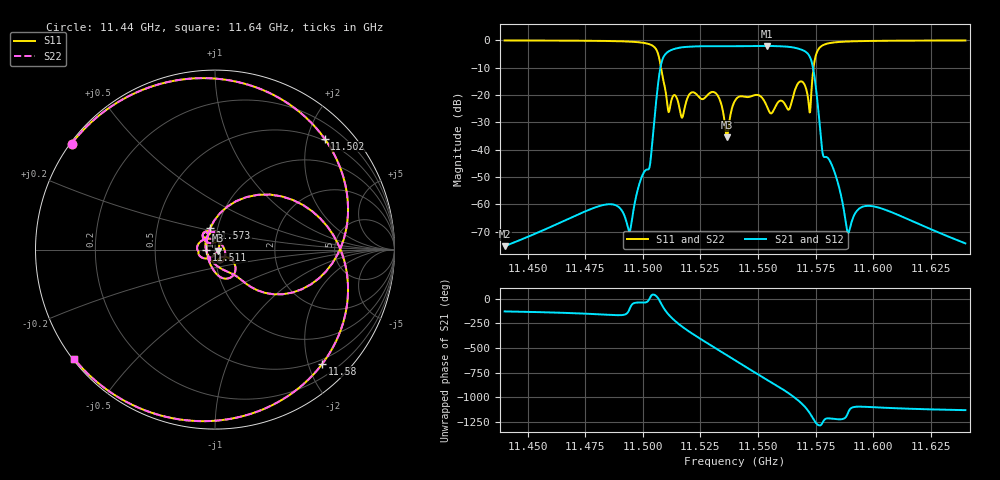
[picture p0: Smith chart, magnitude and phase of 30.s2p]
! This file was generated by CST Filter Designer 3D
! Date:  07.11.2025 16:03:08
# MHZ S RI R 50
!  Frequency  Re(S11)  Im(S11)  Re(S21)  Im(S21)  Re(S12)  Im(S12)  Re(S22)  Im(S22)
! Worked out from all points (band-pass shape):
!   1001 points, 11.44 GHz to 11.64 GHz, reference 50 ohm
!   highest |S21| = -2.07 dB at 11.554 GHz (marker M1); lowest = -75.3 dB at 11.44 GHz (marker M2)
!   |S21| within 3 dB of the highest: 11.51 GHz to 11.572 GHz (61.99 MHz wide, 0.537 % of centre)
!   lowest |S11| = -35.5 dB at 11.536 GHz (marker M3), VSWR 1.03, Z = 51.6 - j0.519 ohm
!   |S11| at or under -10 dB: 11.508 GHz to 11.574 GHz (66.23 MHz wide, 0.574 % of centre)
!   |S22| runs from -35.5 to -0.1 dB; largest |S21 - S12| = 0
!   S11 on the Smith chart (normalised r, x): 11.44 GHz: 0.00, +0.33; 11.502 GHz: 0.46, +2.31; 11.511 GHz: 0.91, -0.01; 11.573 GHz: 0.92, +0.22; 11.58 GHz: 0.42, -2.24; 11.64 GHz: 0.00, -0.34
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11440  -0.7991 0.5903  -0.000107 -0.000135  -0.000107 -0.000135  -0.7991 0.5903
11473.4  -0.529 0.8286  -0.0006 -0.000354  -0.0006 -0.000354  -0.529 0.8286
11494.2  0.0792 0.9432  -8.96e-05 -0.000307  -8.96e-05 -0.000307  0.0792 0.9432
11502  0.6102 0.6184  0.00381 -0.00209  0.00381 -0.00209  0.6102 0.6184
11506.8  0.4847 -0.2206  0.1849 -0.0034  0.1849 -0.0034  0.4847 -0.2206
11511.4  -0.0495 -0.004  -0.6163 -0.1529  -0.6163 -0.1529  -0.0495 -0.004
11516.4  0.00736 0.0448  0.0142 0.7381  0.0142 0.7381  0.00736 0.0448
11522  -0.0562 0.0968  0.7695 -0.0299  0.7695 -0.0299  -0.0562 0.0968
11528.6  -0.0684 0.0795  -0.1248 -0.7701  -0.1248 -0.7701  -0.0684 0.0795
11536.4  0.016 -0.00503  -0.6621 0.4142  -0.6621 0.4142  0.016 -0.00503
11540  -0.0623 -0.0481  -0.0734 0.7763  -0.0734 0.7763  -0.0623 -0.0481
11546.8  -0.0934 -0.00833  0.7839 -0.0319  0.7839 -0.0319  -0.0934 -0.00833
11554  -0.0126 0.0582  -0.1745 -0.768  -0.1745 -0.768  -0.0126 0.0582
11559.4  0.0436 -0.0647  -0.7784 -0.0094  -0.7784 -0.0094  0.0436 -0.0647
11564.6  0.063 -0.0414  -0.1244 0.7377  -0.1244 0.7377  0.063 -0.0414
11569.4  0.0596 -0.162  0.6548 0.0784  0.6548 0.0784  0.0596 -0.162
11573.2  -0.0272 0.1185  -0.1332 -0.3928  -0.1332 -0.3928  -0.0272 0.1185
11573.4  -0.00561 0.1598  -0.1739 -0.345  -0.1739 -0.345  -0.00561 0.1598
11580.2  0.597 -0.6375  -0.0049 -0.00516  -0.0049 -0.00516  0.597 -0.6375
11589.2  0.0179 -0.952  0.000105 -0.000282  0.000105 -0.000282  0.0179 -0.952
11606.8  -0.4908 -0.85  0.000665 -0.000352  0.000665 -0.000352  -0.4908 -0.85
11640  -0.7852 -0.6079  0.000124 -0.000149  0.000124 -0.000149  -0.7852 -0.6079
